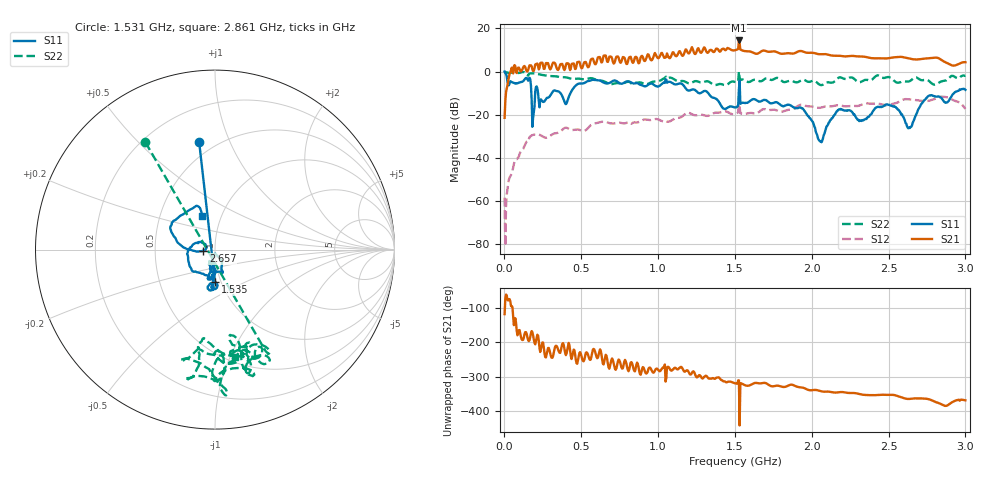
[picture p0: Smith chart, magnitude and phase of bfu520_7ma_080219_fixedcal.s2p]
! created by kelvin at Sat Aug 03 00:18:38 EDT 2019
! generated using vna/J Version 3.3.2
# Hz S DB R 50.0
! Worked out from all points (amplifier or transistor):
!   648 points, 1 MHz to 3 GHz, reference 50 ohm
!   highest |S21| = 14.4 dB at 1.526 GHz (marker M1)
!   |S21| within 3 dB of that: 1.522 GHz to 1.533 GHz (10.9 MHz wide, 0.713 % of centre)
!   unconditionally stable (mu >= 1): 165.8 MHz to 1.046 GHz; 1.305 GHz to 1.522 GHz; 1.535 GHz to 1.68 GHz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
!   at 501.6 MHz: K = 4.03, MAG = 5.4 dB, |S12| = -27.4 dB
!   at 1.503 GHz: K = 1.23, MAG = 11.8 dB, |S12| = -19.5 dB
!   at 3 GHz: K = 0.59, MSG = 10.8 dB, |S12| = -17.3 dB
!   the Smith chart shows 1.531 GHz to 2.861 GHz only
!   S11 on the Smith chart (normalised r, x): 1.531 GHz: 0.41, +0.78; 1.535 GHz: 0.94, -0.35; 2.657 GHz: 0.88, -0.01; 2.861 GHz: 0.81, +0.31
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1000000  0.00 -20.6  -21.46 -118.2  -58.49 -89.8  0.00 158.8
5.662287e7  -5.14 -48.7  -0.87 -126.3  -44.62 111.1  0.00 96.8
1.585981e8  -3.26 -170.4  1.89 163.2  -31.37 103.1  -1.19 36.9
2.744791e8  -12.35 -53.5  3.89 124.9  -30.66 62.1  -1.89 -0.3
5.016058e8  -5.56 -58.7  1.47 118.5  -27.41 59.6  -3.48 -23.6
6.174868e8  -4.12 -82.0  6.74 132.2  -23.55 52.4  -4.14 -38.3
7.19462e8  -4.16 -80.0  4.78 82.2  -24.03 42.7  -5.46 -34.8
1.002212e9  -6.93 -88.1  6.19 78.4  -22.25 41.8  -4.53 -37.3
1.145904e9  -5.50 -105.2  8.81 87.7  -21.28 54.7  -4.46 -60.1
1.220068e9  -8.38 -109.7  11.30 70.7  -19.78 41.4  -5.12 -55.7
1.502817e9  -16.66 -86.7  9.93 40.1  -19.51 29.6  -4.85 -50.9
1.512088e9  -16.41 -89.6  10.13 39.6  -19.29 29.8  -4.95 -53.7
1.516723e9  -16.24 -91.2  10.22 39.6  -19.15 30.3  -4.95 -55.6
1.525994e9  -8.14 -94.1  14.41 49.1  -15.03 39.3  0.00 -49.8
1.530629e9  -4.32 98.4  12.98 -82.3  -16.61 -92.0  -2.95 123.0
1.535264e9  -14.94 -89.9  10.21 40.8  -19.35 33.0  -3.98 -63.5
1.688227e9  -13.15 -93.8  9.73 41.7  -17.41 35.9  -3.75 -69.4
2.003423e9  -23.03 -104.3  8.70 20.4  -16.25 19.3  -4.33 -81.4
2.504029e9  -15.45 -146.6  6.24 6.7  -15.46 13.1  -2.61 -102.0
2.656992e9  -23.80 -174.0  5.71 -4.1  -13.04 3.6  -3.36 -91.3
2.860942e9  -13.96 111.8  4.63 -24.6  -11.75 -10.5  -4.29 -79.7
3e9  -8.48 115.0  4.34 -9.2  -17.30 -26.1  -1.97 -107.6
